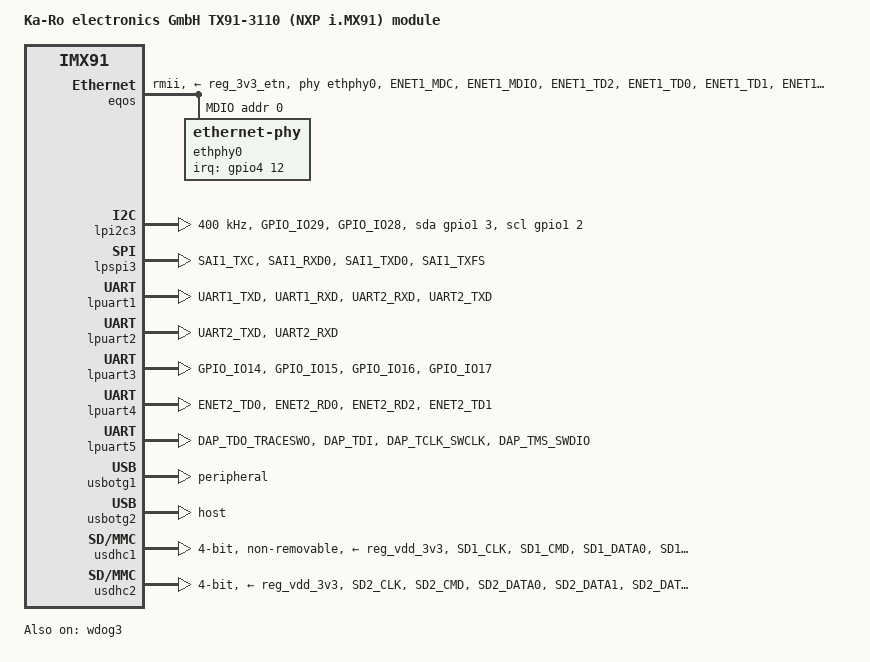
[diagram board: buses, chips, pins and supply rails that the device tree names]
// SPDX-License-Identifier: (GPL-2.0+ OR MIT)
/*
 * Copyright 2023 Lothar Waßmann <LW@KARO-electronics.de>
 * Copyright 2023 Markus Bauer <MB@KARO-electronics.de>
 */

/dts-v1/;

#include <dt-bindings/input/input.h>
#include "imx91-karo.dtsi"

/ {
	model = "Ka-Ro electronics GmbH TX91-3110 (NXP i.MX91) module";
	compatible = "karo,imx91-tx91-3110", "fsl,imx91";

	aliases {
		ethernet0 = &eqos;
		ethernet1 = &fec;
		i2c0 = &lpi2c1; /* module internal use */
		i2c1 = &lpi2c3;
		i2c2 = &lpi2c6;
		i2c3 = &lpi2c7;
		i2c4 = &lpi2c8;
		i2c5 = &lpi2c5;
		i2c6 = &lpi2c4;
		i2c7 = &lpi2c2;
		serial0 = &lpuart1;
		serial1 = &lpuart4;
		serial2 = &lpuart5;
		serial3 = &lpuart2;
		serial4 = &lpuart6;
		serial5 = &lpuart7;
		serial6 = &lpuart8;
		serial7 = &lpuart3;
		spi0 = &lpspi1;
		spi1 = &lpspi7; /* display */
		spi2 = &lpspi3; /* display */
		spi3 = &lpspi8; /* display */
		spi4 = &lpspi4; /* display */
		spi5 = &lpspi5; /* display */
		spi6 = &lpspi6; /* display */
		spi7 = &lpspi2; /* lpuart1 (console) */
		usbotg = &usbotg1;
	};
};

&eqos {
	pinctrl-names = "default", "sleep";
	pinctrl-0 = <&pinctrl_eqos_rmii &pinctrl_ethphy0_rst>;
	pinctrl-1 = <&pinctrl_eqos_rmii_sleep>;
	assigned-clock-parents = <
		&clk IMX91_CLK_SYS_PLL_PFD1_DIV2
		&clk IMX91_CLK_SYS_PLL_PFD1_DIV2
	>;
	assigned-clock-rates = <100000000>, <50000000>;
	snps,clk-csr = <5>;
	phy-mode = "rmii";
	phy-handle = <&ethphy0>;
	phy-supply = <&reg_3v3_etn>;
	status = "okay";

	mdio {
		compatible = "snps,dwmac-mdio";
		reset-gpios = <&gpio4 13 GPIO_ACTIVE_LOW>;
		reset-delay-us = <25000>;
		reset-post-delay-us = <100>;
		#address-cells = <1>;
		#size-cells = <0>;

		ethphy0: ethernet-phy@0 {
			reg = <0>;
			pinctrl-names = "default";
			pinctrl-0 = <&pinctrl_ethphy0_int>;
			interrupt-parent = <&gpio4>;
			interrupts = <12 IRQ_TYPE_EDGE_FALLING>;
			eee-broken-100tx;
			smsc,disable-energy-detect;
		};
	};
};

&fec {
	pinctrl-names = "default";
	pinctrl-0 = <&pinctrl_fec_rgmii>;
	phy-supply = <&reg_3v3_etn>;
	status = "disabled";

	mdio {
		#address-cells = <1>;
		#size-cells = <0>;
		clock-frequency = <5000000>;
	};
};

&lpi2c3 {
	clock-frequency = <400000>;
	pinctrl-names = "default", "gpio";
	pinctrl-0 = <&pinctrl_lpi2c3>;
	pinctrl-1 = <&pinctrl_lpi2c3_gpio>;
	scl-gpios = <&gpio1 2 (GPIO_ACTIVE_HIGH | GPIO_OPEN_DRAIN)>;
	sda-gpios = <&gpio1 3 (GPIO_ACTIVE_HIGH | GPIO_OPEN_DRAIN)>;
	status = "okay";
};

&lpspi3 {
	pinctrl-names = "default";
	pinctrl-0 = <&pinctrl_lpspi3 &pinctrl_lpspi3_cs>;
	cs-gpios = <&gpio1 11 GPIO_ACTIVE_LOW>;
	spi-max-frequency = <25000000>;
};

&lpuart1 { /* console */
	pinctrl-names = "default";
	pinctrl-0 = <&pinctrl_lpuart1 &pinctrl_lpuart1_rtscts>;
	uart-has-rtscts;
	status = "okay";
};

&lpuart2 {
	pinctrl-names = "default";
	pinctrl-0 = <&pinctrl_lpuart2>;
};

&lpuart3 {
	pinctrl-names = "default";
	pinctrl-0 = <&pinctrl_lpuart3 &pinctrl_lpuart3_rtscts>;
	uart-has-rtscts;
};

&lpuart4 {
	pinctrl-names = "default";
	pinctrl-0 = <&pinctrl_lpuart4 &pinctrl_lpuart4_rtscts>;
	uart-has-rtscts;
	status = "okay";
};

&lpuart5 {
	pinctrl-names = "default";
	pinctrl-0 = <&pinctrl_lpuart5 &pinctrl_lpuart5_rtscts>;
	uart-has-rtscts;
	status = "okay";
};

&usbotg1 {
	/* May be modified by U-Boot according to 'otg_mode' variable */
	dr_mode = "peripheral";
	hnp-disable;
	srp-disable;
	adp-disable;
	disable-over-current;
	samsung,picophy-pre-emp-curr-control = <3>;
	samsung,picophy-dc-vol-level-adjust = <7>;
	status = "okay";
};

&usbotg2 {
	dr_mode = "host";
	hnp-disable;
	srp-disable;
	adp-disable;
	disable-over-current;
	samsung,picophy-pre-emp-curr-control = <3>;
	samsung,picophy-dc-vol-level-adjust = <7>;
	status = "okay";
};

&usdhc1 { /* eMMC */
	pinctrl-names = "default";
	pinctrl-0 = <&pinctrl_usdhc1>;
	vmmc-supply = <&reg_vdd_3v3>;
	vqmmc-supply = <&reg_vdd_3v3>;
	bus-width = <4>;
	no-1-8-v;
	non-removable;
	status = "okay";
};

&usdhc2 {
	pinctrl-names = "default";
	pinctrl-0 = <&pinctrl_usdhc2>;
	vmmc-supply = <&reg_vdd_3v3>;
	vqmmc-supply = <&reg_vdd_3v3>;
	bus-width = <4>;
	no-1-8-v;
	no-sdio;
	no-mmc;
	status = "okay";
};

&wdog3 {
	status = "okay";
};

&iomuxc {
	pinctrl-names = "default";
	status = "okay";

	pinctrl_eqos_rmii: eqos-rmiigrp {
		fsl,pins = <
			MX91_PAD_ENET1_MDC__ENET_QOS_MDC		0x11e
			MX91_PAD_ENET1_MDIO__ENET_QOS_MDIO		0x11e
			MX91_PAD_ENET1_TD2__ENET_QOS_CLOCK_GENERATE_CLK	0x4000019e
			MX91_PAD_ENET1_TD0__ENET_QOS_RGMII_TD0		0x51e
			MX91_PAD_ENET1_TD1__ENET_QOS_RGMII_TD1		0x51e
			MX91_PAD_ENET1_TX_CTL__ENET_QOS_RGMII_TX_CTL	0x51e
			/* SMSC LAN8710 strap pins: HIGH: 0x2.. LOW: 0x4.. */
			MX91_PAD_ENET1_RD0__ENET_QOS_RGMII_RD0		0x31e /* MODE0 */
			MX91_PAD_ENET1_RD1__ENET_QOS_RGMII_RD1		0x31e /* MODE1 */
			MX91_PAD_ENET1_RX_CTL__ENET_QOS_RGMII_RX_CTL	0x31e /* MODE2 (ext. pullup) */
			MX91_PAD_ENET1_RXC__ENET_QOS_RX_ER		0x51e /* PHYAD0 */
		>;
	};

	pinctrl_eqos_rmii_sleep: eqos-rmii-sleepgrp {
		fsl,pins = <
			MX91_PAD_ENET1_MDC__ENET_QOS_MDC		0x300
			MX91_PAD_ENET1_MDIO__ENET_QOS_MDIO		0x300 /* ext. pullup */
			MX91_PAD_ENET1_TD2__ENET_QOS_CLOCK_GENERATE_CLK	0x300
			MX91_PAD_ENET1_TD0__ENET_QOS_RGMII_TD0		0x300
			MX91_PAD_ENET1_TD1__ENET_QOS_RGMII_TD1		0x300
			MX91_PAD_ENET1_TX_CTL__ENET_QOS_RGMII_TX_CTL	0x300
			MX91_PAD_ENET1_RD0__ENET_QOS_RGMII_RD0		0x100
			MX91_PAD_ENET1_RD1__ENET_QOS_RGMII_RD1		0x100
			MX91_PAD_ENET1_RX_CTL__ENET_QOS_RGMII_RX_CTL	0x300 /* ext. pullup */
			MX91_PAD_ENET1_RXC__ENET_QOS_RX_ER		0x100
		>;
	};

	pinctrl_ethphy0_int: ethphy0-intgrp {
		fsl,pins = <
			MX91_PAD_ENET1_RD2__GPIO4_IO12			0x31e
		>;
	};

	pinctrl_ethphy0_rst: ethphy0-rstgrp {
		fsl,pins = <
			MX91_PAD_ENET1_RD3__GPIO4_IO13			0x31e
		>;
	};

	pinctrl_fec_rgmii: fec-rgmiigrp {
		fsl,pins = <
			MX91_PAD_SD3_DATA3__GPIO3_IO25			0x11e
			MX91_PAD_ENET2_TX_CTL__ENET2_RGMII_TX_CTL	0x31e
			MX91_PAD_ENET2_RD1__ENET2_RGMII_RD1		0x31e
			MX91_PAD_ENET2_TD3__ENET2_RGMII_TD3		0x31e
			MX91_PAD_ENET2_TD2__ENET2_RGMII_TD2		0x31e
			MX91_PAD_ENET2_RX_CTL__ENET2_RGMII_RX_CTL	0x51e
			MX91_PAD_ENET2_RXC__ENET2_RGMII_RXC		0x19e
			MX91_PAD_SD1_STROBE__GPIO3_IO18			0x11e
			MX91_PAD_I2C2_SDA__GPIO1_IO3			0x11e
			MX91_PAD_ENET2_RD3__ENET2_RGMII_RD3		0x11e
			MX91_PAD_SD3_DATA2__GPIO3_IO24			0x11e
			MX91_PAD_ENET2_TXC__ENET2_RGMII_TXC		0x19e
			MX91_PAD_ENET2_TD3__ENET2_RGMII_TD3		0x11e
		>;
	};

	pinctrl_lpi2c1: lpi2c1grp {
		fsl,pins = <
			MX91_PAD_I2C1_SCL__LPI2C1_SCL			0x40001b1e
			MX91_PAD_I2C1_SDA__LPI2C1_SDA			0x40001b1e
		>;
	};

	pinctrl_lpi2c1_gpio: lpi2c1-gpiogrp {
		fsl,pins = <
			MX91_PAD_I2C1_SCL__GPIO1_IO0			0x40001b1e
			MX91_PAD_I2C1_SDA__GPIO1_IO1			0x40001b1e
		>;
	};

	pinctrl_lpi2c3: lpi2c3grp {
		fsl,pins = <
			MX91_PAD_GPIO_IO29__LPI2C3_SCL			0x40001b1e
			MX91_PAD_GPIO_IO28__LPI2C3_SDA			0x40001b1e
		>;
	};

	pinctrl_lpi2c3_gpio: lpi2c3-gpiogrp {
		fsl,pins = <
			MX91_PAD_GPIO_IO29__GPIO2_IO29			0x40001b1e
			MX91_PAD_GPIO_IO28__GPIO2_IO28			0x40001b1e
		>;
	};

	pinctrl_lpspi3: lpspi3-grp {
		fsl,pins = <
			MX91_PAD_SAI1_TXC__LPSPI1_SIN			0x31e
			MX91_PAD_SAI1_RXD0__LPSPI1_SOUT			0x11e
			MX91_PAD_SAI1_TXD0__LPSPI1_SCK			0x11e
			MX91_PAD_SAI1_TXFS__LPSPI1_PCS0			0x11e
		>;
	};

	pinctrl_lpspi3_cs: lpspi3-csgrp {
		fsl,pins = <
			MX91_PAD_SAI1_TXFS__GPIO1_IO11			0x4000031e
		>;
	};

	pinctrl_pmic: pmicgrp {
		fsl,pins = <
			MX91_PAD_WDOG_ANY__WDOG1_WDOG_ANY		0x31e
		>;
	};

	pinctrl_lpuart1: lpuart1grp {
		fsl,pins = <
			MX91_PAD_UART1_TXD__LPUART1_TX			0x31e
			MX91_PAD_UART1_RXD__LPUART1_RX			0x31e
		>;
	};

	pinctrl_lpuart1_rtscts: lpuart1-rtsctsgrp {
		fsl,pins = <
			MX91_PAD_UART2_RXD__LPUART1_CTS_B		0x31e
			MX91_PAD_UART2_TXD__LPUART1_RTS_B		0x31e
		>;
	};

	pinctrl_lpuart2: lpuart2grp {
		fsl,pins = <
			MX91_PAD_UART2_TXD__LPUART2_TX			0x31e
			MX91_PAD_UART2_RXD__LPUART2_RX			0x31e
		>;
	};

	pinctrl_lpuart3: lpuart3grp {
		fsl,pins = <
			MX91_PAD_GPIO_IO14__LPUART3_TX			0x31e
			MX91_PAD_GPIO_IO15__LPUART3_RX			0x31e
		>;
	};

	pinctrl_lpuart3_rtscts: lpuart3-rtsctsgrp {
		fsl,pins = <
			MX91_PAD_GPIO_IO16__LPUART3_CTS_B		0x31e
			MX91_PAD_GPIO_IO17__LPUART3_RTS_B		0x31e
		>;
	};

	pinctrl_lpuart4: lpuart4grp {
		fsl,pins = <
			MX91_PAD_ENET2_TD0__LPUART4_TX			0x31e
			MX91_PAD_ENET2_RD0__LPUART4_RX			0x31e
		>;
	};

	pinctrl_lpuart4_rtscts: lpuart4-rtsctsgrp {
		fsl,pins = <
			MX91_PAD_ENET2_RD2__LPUART4_CTS_B		0x31e
			MX91_PAD_ENET2_TD1__LPUART4_RTS_B		0x31e
		>;
	};

	pinctrl_lpuart5: lpuart5grp {
		fsl,pins = <
			MX91_PAD_DAP_TDO_TRACESWO__LPUART5_TX		0x31e
			MX91_PAD_DAP_TDI__LPUART5_RX			0x31e
		>;
	};

	pinctrl_lpuart5_rtscts: lpuart5-rtsctsgrp {
		fsl,pins = <
			MX91_PAD_DAP_TCLK_SWCLK__LPUART5_CTS_B		0x31e
			MX91_PAD_DAP_TMS_SWDIO__LPUART5_RTS_B		0x31e
		>;
	};

	pinctrl_usdhc1: usdhc1grp {
		fsl,pins = <
			MX91_PAD_SD1_CLK__USDHC1_CLK			0x19e
			MX91_PAD_SD1_CMD__USDHC1_CMD			0x39e
			MX91_PAD_SD1_DATA0__USDHC1_DATA0		0x39e
			MX91_PAD_SD1_DATA1__USDHC1_DATA1		0x39e
			MX91_PAD_SD1_DATA2__USDHC1_DATA2		0x39e
			MX91_PAD_SD1_DATA3__USDHC1_DATA3		0x39e
		>;
	};

	pinctrl_usdhc2: usdhc2grp {
		fsl,pins = <
			MX91_PAD_SD2_CLK__USDHC2_CLK			0x7fe
			MX91_PAD_SD2_CMD__USDHC2_CMD			0x3fe
			MX91_PAD_SD2_DATA0__USDHC2_DATA0		0x3fe
			MX91_PAD_SD2_DATA1__USDHC2_DATA1		0x3fe
			MX91_PAD_SD2_DATA2__USDHC2_DATA2		0x3fe
			MX91_PAD_SD2_DATA3__USDHC2_DATA3		0x3fe
		>;
	};
};
